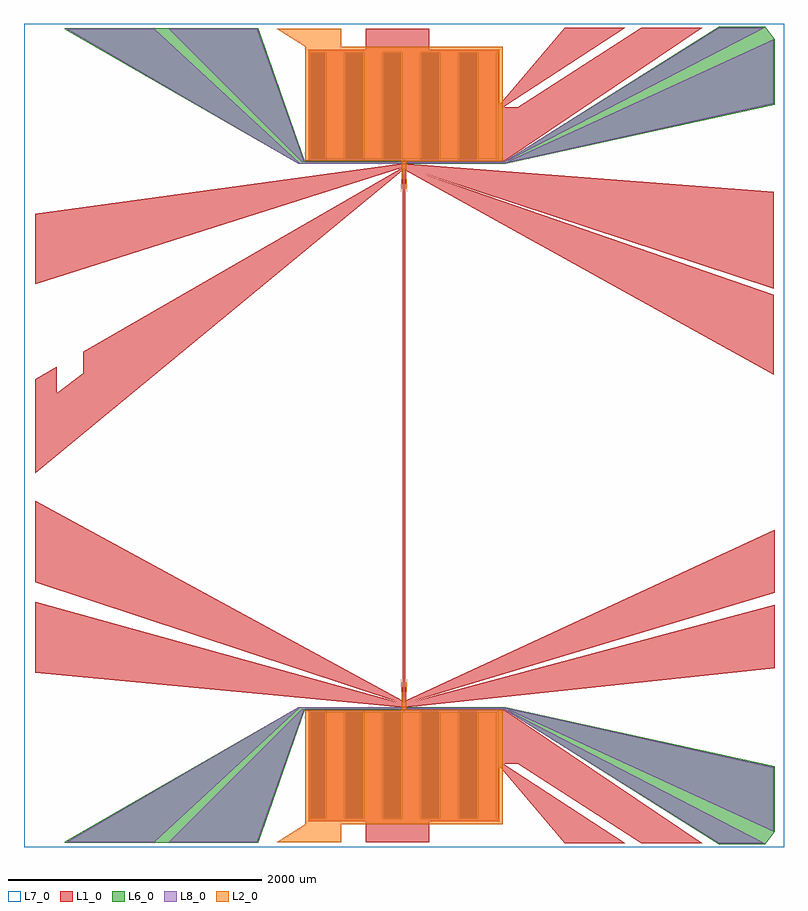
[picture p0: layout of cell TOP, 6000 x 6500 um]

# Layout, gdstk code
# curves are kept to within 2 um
import gdstk
lib = gdstk.Library(unit=1e-6, precision=1e-09)
def R(c, l, rs):  # rectangles x0, y0, x1, y1
    for r in rs: c.add(gdstk.rectangle(r[:2], r[2:], *l))
def P(c, l, *ps):  # polygons
    for p in ps: c.add(gdstk.Polygon(p, *l))
L1_0 = (1, 0)
L2_0 = (2, 0)
L6_0 = (6, 0)
L7_0 = (7, 0)
L8_0 = (8, 0)

top = lib.new_cell('TOP')
P(top, L1_0, [(5.5,-2116.5),(5.5,2116.5),(2920.788,1111.522),(2920.788,480.632),(11.5,2094),(11.5,-2094),(2927.546,-742.324),(2927.546,-1242.324)],
  [(-753,2591.721),(-753,2621.721),(763,2621.721),(1267.316,3220.16),(1745.325,3220.16),(783,2591.721)],
  [(-753,2623.221),(-753,3045.221),(-301.363,3045.221),(-301.363,3211.38),(198.381,3211.38),(198.381,3045.79),(753,3049.587),(753,2623.221)],
  [(-753,2165.421),(-753,2590.221),(896.773,2590.221),(1872.505,3220.16),(2354.862,3220.16),(791.977,2165.421)],
  [(-29,-2146.421),(-2912.435,-1873.862),(-2912.435,-1311.273),(-3,-2119),(-3,2119),(-2912.435,1195.096),(-2912.435,1752.391),(-29,2146.421),(29,2146.421),(2920.788,1924.41),(2920.788,1157.907),(3,2119),(3,-2119),(2927.546,-1336.44),(2927.546,-1835.546),(29,-2146.421)],
  [(-5.5,-2116.5),(-2912.435,-1159.717),(-2912.435,-516.417),(-11.5,-2094),(-11.5,2094),(-2912.435,-296.154),(-2912.435,444.238),(-2741.378,542.641),(-2741.378,332.916),(-2533.021,492.835),(-2532.574,662.76),(-5.5,2116.5)],
  [(1267.316,-3220.16),(763,-2621.721),(-753,-2621.721),(-753,-2591.721),(783,-2591.721),(1745.325,-3220.16)],
  [(-301.363,-3211.38),(-301.363,-3045.221),(-753,-3045.221),(-753,-2623.221),(753,-2623.221),(753,-3049.587),(198.381,-3045.79),(198.381,-3211.38)],
  [(1872.505,-3220.16),(896.773,-2590.221),(-753,-2590.221),(-753,-2165.421),(791.977,-2165.421),(2354.862,-3220.16)])
P(top, L2_0, [(-23,1924),(-18,2124),(-18,2166.934),(-779.04,2168.315),(-779.04,3068.856),(-1004.798,3211.38),(-494.229,3211.38),(-494.229,3068.856),(778,3068.856),(778,2166.873),(18,2166.873),(18,2124),(23,1924),(21,1924),(3,2124),(3.018,2168.674),(4.157,2171.424),(6.368,2172.95),(738.266,2173.221),(738.266,3025.221),(732.266,3025.221),(732.266,2179.221),(726.266,2179.221),(726.266,3025.221),(720.266,3025.221),(720.266,2179.221),(714.266,2179.221),(714.266,3025.221),(708.266,3025.221),(708.266,2179.221),(702.266,2179.221),(702.266,3025.221),(696.266,3025.221),(696.266,2179.221),(690.266,2179.221),(690.266,3025.221),(684.266,3025.221),(684.266,2179.221),(678.266,2179.221),(678.266,3025.221),(672.266,3025.221),(672.266,2179.221),(666.266,2179.221),(666.266,3025.221),(660.266,3025.221),(660.266,2179.221),(654.266,2179.221),(654.266,3025.221),(648.266,3025.221),(648.266,2179.221),(642.266,2179.221),(642.266,3025.221),(636.266,3025.221),(636.266,2179.221),(630.266,2179.221),(630.266,3025.221),(624.266,3025.221),(624.266,2179.221),(618.266,2179.221),(618.266,3025.221),(612.266,3025.221),(612.266,2179.221),(606.266,2179.221),(606.266,3025.221),(600.266,3025.221),(600.266,2179.221),(594.266,2179.221),(594.266,3025.221),(588.266,3025.221),(588.266,2179.221),(582.266,2179.221),(582.266,3025.221),(576.266,3025.221),(576.266,2179.221),(570.266,2179.221),(570.266,3025.221),(564.266,3025.221),(564.266,2179.221),(558.266,2179.221),(558.266,3025.221),(552.266,3025.221),(552.266,2179.221),(546.266,2179.221),(546.266,3025.221),(540.266,3025.221),(540.266,2179.221),(534.266,2179.221),(534.266,3025.221),(528.266,3025.221),(528.266,2179.221),(522.266,2179.221),(522.266,3025.221),(516.266,3025.221),(516.266,2179.221),(510.266,2179.221),(510.266,3025.221),(504.266,3025.221),(504.266,2179.221),(498.266,2179.221),(498.266,3025.221),(492.266,3025.221),(492.266,2179.221),(486.266,2179.221),(486.266,3025.221),(480.266,3025.221),(480.266,2179.221),(474.266,2179.221),(474.266,3025.221),(468.266,3025.221),(468.266,2179.221),(462.266,2179.221),(462.266,3025.221),(456.266,3025.221),(456.266,2179.221),(450.266,2179.221),(450.266,3025.221),(444.266,3025.221),(444.266,2179.221),(438.266,2179.221),(438.266,3025.221),(432.266,3025.221),(432.266,2179.221),(426.266,2179.221),(426.266,3025.221),(420.266,3025.221),(420.266,2179.221),(414.266,2179.221),(414.266,3025.221),(408.266,3025.221),(408.266,2179.221),(402.266,2179.221),(402.266,3025.221),(396.266,3025.221),(396.266,2179.221),(390.266,2179.221),(390.266,3025.221),(384.266,3025.221),(384.266,2179.221),(378.266,2179.221),(378.266,3025.221),(372.266,3025.221),(372.266,2179.221),(366.266,2179.221),(366.266,3025.221),(360.266,3025.221),(360.266,2179.221),(354.266,2179.221),(354.266,3025.221),(348.266,3025.221),(348.266,2179.221),(342.266,2179.221),(342.266,3025.221),(336.266,3025.221),(336.266,2179.221),(330.266,2179.221),(330.266,3025.221),(324.266,3025.221),(324.266,2179.221),(318.266,2179.221),(318.266,3025.221),(312.266,3025.221),(312.266,2179.221),(306.266,2179.221),(306.266,3025.221),(300.266,3025.221),(300.266,2179.221),(294.266,2179.221),(294.266,3025.221),(288.266,3025.221),(288.266,2179.221),(282.266,2179.221),(282.266,3025.221),(276.266,3025.221),(276.266,2179.221),(270.266,2179.221),(270.266,3025.221),(264.266,3025.221),(264.266,2179.221),(258.266,2179.221),(258.266,3025.221),(252.266,3025.221),(252.266,2179.221),(246.266,2179.221),(246.266,3025.221),(240.266,3025.221),(240.266,2179.221),(234.266,2179.221),(234.266,3025.221),(228.266,3025.221),(228.266,2179.221),(222.266,2179.221),(222.266,3025.221),(216.266,3025.221),(216.266,2179.221),(210.266,2179.221),(210.266,3025.221),(204.266,3025.221),(204.266,2179.221),(198.266,2179.221),(198.266,3025.221),(192.266,3025.221),(192.266,2179.221),(186.266,2179.221),(186.266,3025.221),(180.266,3025.221),(180.266,2179.221),(174.266,2179.221),(174.266,3025.221),(168.266,3025.221),(168.266,2179.221),(162.266,2179.221),(162.266,3025.221),(156.266,3025.221),(156.266,2179.221),(150.266,2179.221),(150.266,3025.221),(144.266,3025.221),(144.266,2179.221),(138.266,2179.221),(138.266,3025.221),(132.266,3025.221),(132.266,2179.221),(126.266,2179.221),(126.266,3025.221),(120.266,3025.221),(120.266,2179.221),(114.266,2179.221),(114.266,3025.221),(108.266,3025.221),(108.266,2179.221),(102.266,2179.221),(102.266,3025.221),(96.266,3025.221),(96.266,2179.221),(90.266,2179.221),(90.266,3025.221),(84.266,3025.221),(84.266,2179.221),(78.266,2179.221),(78.266,3025.221),(72.266,3025.221),(72.266,2179.221),(66.266,2179.221),(66.266,3025.221),(60.266,3025.221),(60.266,2179.221),(54.266,2179.221),(54.266,3025.221),(48.266,3025.221),(48.266,2179.221),(42.266,2179.221),(42.266,3025.221),(36.266,3025.221),(36.266,2179.221),(30.266,2179.221),(30.266,3025.221),(24.266,3025.221),(24.266,2179.221),(18.266,2179.221),(18.266,3025.221),(12.266,3025.221),(12.266,2179.221),(6.266,2179.221),(6.266,3025.221),(0.266,3025.221),(0.266,2179.221),(-5.734,2179.221),(-5.734,3025.221),(-11.734,3025.221),(-11.734,2179.221),(-17.734,2179.221),(-17.734,3025.221),(-23.734,3025.221),(-23.734,2179.221),(-29.734,2179.221),(-29.734,3025.221),(-35.734,3025.221),(-35.734,2179.221),(-41.734,2179.221),(-41.734,3025.221),(-47.734,3025.221),(-47.734,2179.221),(-53.734,2179.221),(-53.734,3025.221),(-59.734,3025.221),(-59.734,2179.221),(-65.734,2179.221),(-65.734,3025.221),(-71.734,3025.221),(-71.734,2179.221),(-77.734,2179.221),(-77.734,3025.221),(-83.734,3025.221),(-83.734,2179.221),(-89.734,2179.221),(-89.734,3025.221),(-95.734,3025.221),(-95.734,2179.221),(-101.734,2179.221),(-101.734,3025.221),(-107.734,3025.221),(-107.734,2179.221),(-113.734,2179.221),(-113.734,3025.221),(-119.734,3025.221),(-119.734,2179.221),(-125.734,2179.221),(-125.734,3025.221),(-131.734,3025.221),(-131.734,2179.221),(-137.734,2179.221),(-137.734,3025.221),(-143.734,3025.221),(-143.734,2179.221),(-149.734,2179.221),(-149.734,3025.221),(-155.734,3025.221),(-155.734,2179.221),(-161.734,2179.221),(-161.734,3025.221),(-167.734,3025.221),(-167.734,2179.221),(-173.734,2179.221),(-173.734,3025.221),(-179.734,3025.221),(-179.734,2179.221),(-185.734,2179.221),(-185.734,3025.221),(-191.734,3025.221),(-191.734,2179.221),(-197.734,2179.221),(-197.734,3025.221),(-203.734,3025.221),(-203.734,2179.221),(-209.734,2179.221),(-209.734,3025.221),(-215.734,3025.221),(-215.734,2179.221),(-221.734,2179.221),(-221.734,3025.221),(-227.734,3025.221),(-227.734,2179.221),(-233.734,2179.221),(-233.734,3025.221),(-239.734,3025.221),(-239.734,2179.221),(-245.734,2179.221),(-245.734,3025.221),(-251.734,3025.221),(-251.734,2179.221),(-257.734,2179.221),(-257.734,3025.221),(-263.734,3025.221),(-263.734,2179.221),(-269.734,2179.221),(-269.734,3025.221),(-275.734,3025.221),(-275.734,2179.221),(-281.734,2179.221),(-281.734,3025.221),(-287.734,3025.221),(-287.734,2179.221),(-293.734,2179.221),(-293.734,3025.221),(-299.734,3025.221),(-299.734,2179.221),(-305.734,2179.221),(-305.734,3025.221),(-311.734,3025.221),(-311.734,2179.221),(-317.734,2179.221),(-317.734,3025.221),(-323.734,3025.221),(-323.734,2179.221),(-329.734,2179.221),(-329.734,3025.221),(-335.734,3025.221),(-335.734,2179.221),(-341.734,2179.221),(-341.734,3025.221),(-347.734,3025.221),(-347.734,2179.221),(-353.734,2179.221),(-353.734,3025.221),(-359.734,3025.221),(-359.734,2179.221),(-365.734,2179.221),(-365.734,3025.221),(-371.734,3025.221),(-371.734,2179.221),(-377.734,2179.221),(-377.734,3025.221),(-383.734,3025.221),(-383.734,2179.221),(-389.734,2179.221),(-389.734,3025.221),(-395.734,3025.221),(-395.734,2179.221),(-401.734,2179.221),(-401.734,3025.221),(-407.734,3025.221),(-407.734,2179.221),(-413.734,2179.221),(-413.734,3025.221),(-419.734,3025.221),(-419.734,2179.221),(-425.734,2179.221),(-425.734,3025.221),(-431.734,3025.221),(-431.734,2179.221),(-437.734,2179.221),(-437.734,3025.221),(-443.734,3025.221),(-443.734,2179.221),(-449.734,2179.221),(-449.734,3025.221),(-455.734,3025.221),(-455.734,2179.221),(-461.734,2179.221),(-461.734,3025.221),(-467.734,3025.221),(-467.734,2179.221),(-473.734,2179.221),(-473.734,3025.221),(-479.734,3025.221),(-479.734,2179.221),(-485.734,2179.221),(-485.734,3025.221),(-491.734,3025.221),(-491.734,2179.221),(-497.734,2179.221),(-497.734,3025.221),(-503.734,3025.221),(-503.734,2179.221),(-509.734,2179.221),(-509.734,3025.221),(-515.734,3025.221),(-515.734,2179.221),(-521.734,2179.221),(-521.734,3025.221),(-527.734,3025.221),(-527.734,2179.221),(-533.734,2179.221),(-533.734,3025.221),(-539.734,3025.221),(-539.734,2179.221),(-545.734,2179.221),(-545.734,3025.221),(-551.734,3025.221),(-551.734,2179.221),(-557.734,2179.221),(-557.734,3025.221),(-563.734,3025.221),(-563.734,2179.221),(-569.734,2179.221),(-569.734,3025.221),(-575.734,3025.221),(-575.734,2179.221),(-581.734,2179.221),(-581.734,3025.221),(-587.734,3025.221),(-587.734,2179.221),(-593.734,2179.221),(-593.734,3025.221),(-599.734,3025.221),(-599.734,2179.221),(-605.734,2179.221),(-605.734,3025.221),(-611.734,3025.221),(-611.734,2179.221),(-617.734,2179.221),(-617.734,3025.221),(-623.734,3025.221),(-623.734,2179.221),(-629.734,2179.221),(-629.734,3025.221),(-635.734,3025.221),(-635.734,2179.221),(-641.734,2179.221),(-641.734,3025.221),(-647.734,3025.221),(-647.734,2179.221),(-653.734,2179.221),(-653.734,3025.221),(-659.734,3025.221),(-659.734,2179.221),(-665.734,2179.221),(-665.734,3025.221),(-671.734,3025.221),(-671.734,2179.221),(-677.734,2179.221),(-677.734,3025.221),(-683.734,3025.221),(-683.734,2179.221),(-689.734,2179.221),(-689.734,3025.221),(-695.734,3025.221),(-695.734,2179.221),(-701.734,2179.221),(-701.734,3025.221),(-707.734,3025.221),(-707.734,2179.221),(-713.734,2179.221),(-713.734,3025.221),(-719.734,3025.221),(-719.734,2179.221),(-725.734,2179.221),(-725.734,3025.221),(-731.734,3025.221),(-731.734,2179.221),(-737.734,2179.221),(-737.734,3025.221),(-743.734,3025.221),(-743.734,2173.221),(-6.368,2172.95),(-4.157,2171.424),(-3.018,2168.674),(-3,2124),(-21,1924)],
  [(-1004.798,-3211.38),(-779.04,-3068.856),(-779.04,-2168.315),(-18,-2166.934),(-18,-2124),(-23,-1924),(-21,-1924),(-3,-2124),(-3.018,-2168.674),(-4.571,-2171.864),(-7.547,-2173.203),(-743.734,-2173.221),(-743.734,-3025.221),(-737.734,-3025.221),(-737.734,-2179.221),(-731.734,-2179.221),(-731.734,-3025.221),(-725.734,-3025.221),(-725.734,-2179.221),(-719.734,-2179.221),(-719.734,-3025.221),(-713.734,-3025.221),(-713.734,-2179.221),(-707.734,-2179.221),(-707.734,-3025.221),(-701.734,-3025.221),(-701.734,-2179.221),(-695.734,-2179.221),(-695.734,-3025.221),(-689.734,-3025.221),(-689.734,-2179.221),(-683.734,-2179.221),(-683.734,-3025.221),(-677.734,-3025.221),(-677.734,-2179.221),(-671.734,-2179.221),(-671.734,-3025.221),(-665.734,-3025.221),(-665.734,-2179.221),(-659.734,-2179.221),(-659.734,-3025.221),(-653.734,-3025.221),(-653.734,-2179.221),(-647.734,-2179.221),(-647.734,-3025.221),(-641.734,-3025.221),(-641.734,-2179.221),(-635.734,-2179.221),(-635.734,-3025.221),(-629.734,-3025.221),(-629.734,-2179.221),(-623.734,-2179.221),(-623.734,-3025.221),(-617.734,-3025.221),(-617.734,-2179.221),(-611.734,-2179.221),(-611.734,-3025.221),(-605.734,-3025.221),(-605.734,-2179.221),(-599.734,-2179.221),(-599.734,-3025.221),(-593.734,-3025.221),(-593.734,-2179.221),(-587.734,-2179.221),(-587.734,-3025.221),(-581.734,-3025.221),(-581.734,-2179.221),(-575.734,-2179.221),(-575.734,-3025.221),(-569.734,-3025.221),(-569.734,-2179.221),(-563.734,-2179.221),(-563.734,-3025.221),(-557.734,-3025.221),(-557.734,-2179.221),(-551.734,-2179.221),(-551.734,-3025.221),(-545.734,-3025.221),(-545.734,-2179.221),(-539.734,-2179.221),(-539.734,-3025.221),(-533.734,-3025.221),(-533.734,-2179.221),(-527.734,-2179.221),(-527.734,-3025.221),(-521.734,-3025.221),(-521.734,-2179.221),(-515.734,-2179.221),(-515.734,-3025.221),(-509.734,-3025.221),(-509.734,-2179.221),(-503.734,-2179.221),(-503.734,-3025.221),(-497.734,-3025.221),(-497.734,-2179.221),(-491.734,-2179.221),(-491.734,-3025.221),(-485.734,-3025.221),(-485.734,-2179.221),(-479.734,-2179.221),(-479.734,-3025.221),(-473.734,-3025.221),(-473.734,-2179.221),(-467.734,-2179.221),(-467.734,-3025.221),(-461.734,-3025.221),(-461.734,-2179.221),(-455.734,-2179.221),(-455.734,-3025.221),(-449.734,-3025.221),(-449.734,-2179.221),(-443.734,-2179.221),(-443.734,-3025.221),(-437.734,-3025.221),(-437.734,-2179.221),(-431.734,-2179.221),(-431.734,-3025.221),(-425.734,-3025.221),(-425.734,-2179.221),(-419.734,-2179.221),(-419.734,-3025.221),(-413.734,-3025.221),(-413.734,-2179.221),(-407.734,-2179.221),(-407.734,-3025.221),(-401.734,-3025.221),(-401.734,-2179.221),(-395.734,-2179.221),(-395.734,-3025.221),(-389.734,-3025.221),(-389.734,-2179.221),(-383.734,-2179.221),(-383.734,-3025.221),(-377.734,-3025.221),(-377.734,-2179.221),(-371.734,-2179.221),(-371.734,-3025.221),(-365.734,-3025.221),(-365.734,-2179.221),(-359.734,-2179.221),(-359.734,-3025.221),(-353.734,-3025.221),(-353.734,-2179.221),(-347.734,-2179.221),(-347.734,-3025.221),(-341.734,-3025.221),(-341.734,-2179.221),(-335.734,-2179.221),(-335.734,-3025.221),(-329.734,-3025.221),(-329.734,-2179.221),(-323.734,-2179.221),(-323.734,-3025.221),(-317.734,-3025.221),(-317.734,-2179.221),(-311.734,-2179.221),(-311.734,-3025.221),(-305.734,-3025.221),(-305.734,-2179.221),(-299.734,-2179.221),(-299.734,-3025.221),(-293.734,-3025.221),(-293.734,-2179.221),(-287.734,-2179.221),(-287.734,-3025.221),(-281.734,-3025.221),(-281.734,-2179.221),(-275.734,-2179.221),(-275.734,-3025.221),(-269.734,-3025.221),(-269.734,-2179.221),(-263.734,-2179.221),(-263.734,-3025.221),(-257.734,-3025.221),(-257.734,-2179.221),(-251.734,-2179.221),(-251.734,-3025.221),(-245.734,-3025.221),(-245.734,-2179.221),(-239.734,-2179.221),(-239.734,-3025.221),(-233.734,-3025.221),(-233.734,-2179.221),(-227.734,-2179.221),(-227.734,-3025.221),(-221.734,-3025.221),(-221.734,-2179.221),(-215.734,-2179.221),(-215.734,-3025.221),(-209.734,-3025.221),(-209.734,-2179.221),(-203.734,-2179.221),(-203.734,-3025.221),(-197.734,-3025.221),(-197.734,-2179.221),(-191.734,-2179.221),(-191.734,-3025.221),(-185.734,-3025.221),(-185.734,-2179.221),(-179.734,-2179.221),(-179.734,-3025.221),(-173.734,-3025.221),(-173.734,-2179.221),(-167.734,-2179.221),(-167.734,-3025.221),(-161.734,-3025.221),(-161.734,-2179.221),(-155.734,-2179.221),(-155.734,-3025.221),(-149.734,-3025.221),(-149.734,-2179.221),(-143.734,-2179.221),(-143.734,-3025.221),(-137.734,-3025.221),(-137.734,-2179.221),(-131.734,-2179.221),(-131.734,-3025.221),(-125.734,-3025.221),(-125.734,-2179.221),(-119.734,-2179.221),(-119.734,-3025.221),(-113.734,-3025.221),(-113.734,-2179.221),(-107.734,-2179.221),(-107.734,-3025.221),(-101.734,-3025.221),(-101.734,-2179.221),(-95.734,-2179.221),(-95.734,-3025.221),(-89.734,-3025.221),(-89.734,-2179.221),(-83.734,-2179.221),(-83.734,-3025.221),(-77.734,-3025.221),(-77.734,-2179.221),(-71.734,-2179.221),(-71.734,-3025.221),(-65.734,-3025.221),(-65.734,-2179.221),(-59.734,-2179.221),(-59.734,-3025.221),(-53.734,-3025.221),(-53.734,-2179.221),(-47.734,-2179.221),(-47.734,-3025.221),(-41.734,-3025.221),(-41.734,-2179.221),(-35.734,-2179.221),(-35.734,-3025.221),(-29.734,-3025.221),(-29.734,-2179.221),(-23.734,-2179.221),(-23.734,-3025.221),(-17.734,-3025.221),(-17.734,-2179.221),(-11.734,-2179.221),(-11.734,-3025.221),(-5.734,-3025.221),(-5.734,-2179.221),(0.266,-2179.221),(0.266,-3025.221),(6.266,-3025.221),(6.266,-2179.221),(12.266,-2179.221),(12.266,-3025.221),(18.266,-3025.221),(18.266,-2179.221),(24.266,-2179.221),(24.266,-3025.221),(30.266,-3025.221),(30.266,-2179.221),(36.266,-2179.221),(36.266,-3025.221),(42.266,-3025.221),(42.266,-2179.221),(48.266,-2179.221),(48.266,-3025.221),(54.266,-3025.221),(54.266,-2179.221),(60.266,-2179.221),(60.266,-3025.221),(66.266,-3025.221),(66.266,-2179.221),(72.266,-2179.221),(72.266,-3025.221),(78.266,-3025.221),(78.266,-2179.221),(84.266,-2179.221),(84.266,-3025.221),(90.266,-3025.221),(90.266,-2179.221),(96.266,-2179.221),(96.266,-3025.221),(102.266,-3025.221),(102.266,-2179.221),(108.266,-2179.221),(108.266,-3025.221),(114.266,-3025.221),(114.266,-2179.221),(120.266,-2179.221),(120.266,-3025.221),(126.266,-3025.221),(126.266,-2179.221),(132.266,-2179.221),(132.266,-3025.221),(138.266,-3025.221),(138.266,-2179.221),(144.266,-2179.221),(144.266,-3025.221),(150.266,-3025.221),(150.266,-2179.221),(156.266,-2179.221),(156.266,-3025.221),(162.266,-3025.221),(162.266,-2179.221),(168.266,-2179.221),(168.266,-3025.221),(174.266,-3025.221),(174.266,-2179.221),(180.266,-2179.221),(180.266,-3025.221),(186.266,-3025.221),(186.266,-2179.221),(192.266,-2179.221),(192.266,-3025.221),(198.266,-3025.221),(198.266,-2179.221),(204.266,-2179.221),(204.266,-3025.221),(210.266,-3025.221),(210.266,-2179.221),(216.266,-2179.221),(216.266,-3025.221),(222.266,-3025.221),(222.266,-2179.221),(228.266,-2179.221),(228.266,-3025.221),(234.266,-3025.221),(234.266,-2179.221),(240.266,-2179.221),(240.266,-3025.221),(246.266,-3025.221),(246.266,-2179.221),(252.266,-2179.221),(252.266,-3025.221),(258.266,-3025.221),(258.266,-2179.221),(264.266,-2179.221),(264.266,-3025.221),(270.266,-3025.221),(270.266,-2179.221),(276.266,-2179.221),(276.266,-3025.221),(282.266,-3025.221),(282.266,-2179.221),(288.266,-2179.221),(288.266,-3025.221),(294.266,-3025.221),(294.266,-2179.221),(300.266,-2179.221),(300.266,-3025.221),(306.266,-3025.221),(306.266,-2179.221),(312.266,-2179.221),(312.266,-3025.221),(318.266,-3025.221),(318.266,-2179.221),(324.266,-2179.221),(324.266,-3025.221),(330.266,-3025.221),(330.266,-2179.221),(336.266,-2179.221),(336.266,-3025.221),(342.266,-3025.221),(342.266,-2179.221),(348.266,-2179.221),(348.266,-3025.221),(354.266,-3025.221),(354.266,-2179.221),(360.266,-2179.221),(360.266,-3025.221),(366.266,-3025.221),(366.266,-2179.221),(372.266,-2179.221),(372.266,-3025.221),(378.266,-3025.221),(378.266,-2179.221),(384.266,-2179.221),(384.266,-3025.221),(390.266,-3025.221),(390.266,-2179.221),(396.266,-2179.221),(396.266,-3025.221),(402.266,-3025.221),(402.266,-2179.221),(408.266,-2179.221),(408.266,-3025.221),(414.266,-3025.221),(414.266,-2179.221),(420.266,-2179.221),(420.266,-3025.221),(426.266,-3025.221),(426.266,-2179.221),(432.266,-2179.221),(432.266,-3025.221),(438.266,-3025.221),(438.266,-2179.221),(444.266,-2179.221),(444.266,-3025.221),(450.266,-3025.221),(450.266,-2179.221),(456.266,-2179.221),(456.266,-3025.221),(462.266,-3025.221),(462.266,-2179.221),(468.266,-2179.221),(468.266,-3025.221),(474.266,-3025.221),(474.266,-2179.221),(480.266,-2179.221),(480.266,-3025.221),(486.266,-3025.221),(486.266,-2179.221),(492.266,-2179.221),(492.266,-3025.221),(498.266,-3025.221),(498.266,-2179.221),(504.266,-2179.221),(504.266,-3025.221),(510.266,-3025.221),(510.266,-2179.221),(516.266,-2179.221),(516.266,-3025.221),(522.266,-3025.221),(522.266,-2179.221),(528.266,-2179.221),(528.266,-3025.221),(534.266,-3025.221),(534.266,-2179.221),(540.266,-2179.221),(540.266,-3025.221),(546.266,-3025.221),(546.266,-2179.221),(552.266,-2179.221),(552.266,-3025.221),(558.266,-3025.221),(558.266,-2179.221),(564.266,-2179.221),(564.266,-3025.221),(570.266,-3025.221),(570.266,-2179.221),(576.266,-2179.221),(576.266,-3025.221),(582.266,-3025.221),(582.266,-2179.221),(588.266,-2179.221),(588.266,-3025.221),(594.266,-3025.221),(594.266,-2179.221),(600.266,-2179.221),(600.266,-3025.221),(606.266,-3025.221),(606.266,-2179.221),(612.266,-2179.221),(612.266,-3025.221),(618.266,-3025.221),(618.266,-2179.221),(624.266,-2179.221),(624.266,-3025.221),(630.266,-3025.221),(630.266,-2179.221),(636.266,-2179.221),(636.266,-3025.221),(642.266,-3025.221),(642.266,-2179.221),(648.266,-2179.221),(648.266,-3025.221),(654.266,-3025.221),(654.266,-2179.221),(660.266,-2179.221),(660.266,-3025.221),(666.266,-3025.221),(666.266,-2179.221),(672.266,-2179.221),(672.266,-3025.221),(678.266,-3025.221),(678.266,-2179.221),(684.266,-2179.221),(684.266,-3025.221),(690.266,-3025.221),(690.266,-2179.221),(696.266,-2179.221),(696.266,-3025.221),(702.266,-3025.221),(702.266,-2179.221),(708.266,-2179.221),(708.266,-3025.221),(714.266,-3025.221),(714.266,-2179.221),(720.266,-2179.221),(720.266,-3025.221),(726.266,-3025.221),(726.266,-2179.221),(732.266,-2179.221),(732.266,-3025.221),(738.266,-3025.221),(738.266,-2173.221),(7.547,-2173.203),(4.571,-2171.864),(3.018,-2168.674),(3,-2124),(21,-1924),(23,-1924),(18,-2124),(18,-2166.873),(778,-2166.873),(778,-3068.856),(-494.229,-3068.856),(-494.229,-3211.38)])
P(top, L6_0, [(-836.376,2146.721),(-2677.861,3207.136),(-2677.861,3216.38),(-1148.698,3216.38),(-784.918,2165.121),(793.681,2165.121),(2485.946,3225.16),(2851.804,3225.16),(2925.788,3126.47),(2925.788,2610.25),(803.456,2146.721)],
  [(2485.946,-3225.16),(793.681,-2165.121),(-784.918,-2165.121),(-1148.698,-3216.38),(-2677.861,-3216.38),(-2677.861,-3207.136),(-836.376,-2146.721),(803.456,-2146.721),(2925.788,-2610.25),(2925.788,-3126.47),(2851.804,-3225.16)])
R(top, L7_0, [(-3000,-3250,3000,3250)])
P(top, L8_0, [(-16.686,2161.621),(-16.686,2164.621),(795.367,2164.621),(2485.946,3220.16),(2846.804,3220.16),(802.869,2161.621)],
  [(-16.686,2151.021),(-16.686,2157.021),(803,2157.021),(2920.788,3126.47),(2920.788,2620.25),(803,2151.021)],
  [(-803,2157.821),(-1855.866,3211.38),(-1158.698,3211.38),(-788,2160.821),(16.478,2160.821),(16.478,2157.821)],
  [(-833.885,2147.221),(-2667.861,3211.38),(-1973.068,3211.38),(-823,2150.221),(16.478,2150.221),(16.478,2147.221)],
  [(2485.946,-3220.16),(795.367,-2164.621),(-16.686,-2164.621),(-16.686,-2161.621),(802.869,-2161.621),(2846.804,-3220.16)],
  [(2920.788,-3126.47),(803,-2157.021),(-16.686,-2157.021),(-16.686,-2151.021),(803,-2151.021),(2920.788,-2620.25)],
  [(-1855.866,-3211.38),(-803,-2157.821),(16.478,-2157.821),(16.478,-2160.821),(-788,-2160.821),(-1158.698,-3211.38)],
  [(-2667.861,-3211.38),(-833.885,-2147.221),(16.478,-2147.221),(16.478,-2150.221),(-823,-2150.221),(-1973.068,-3211.38)])

lib.write_gds('TOP.gds')
